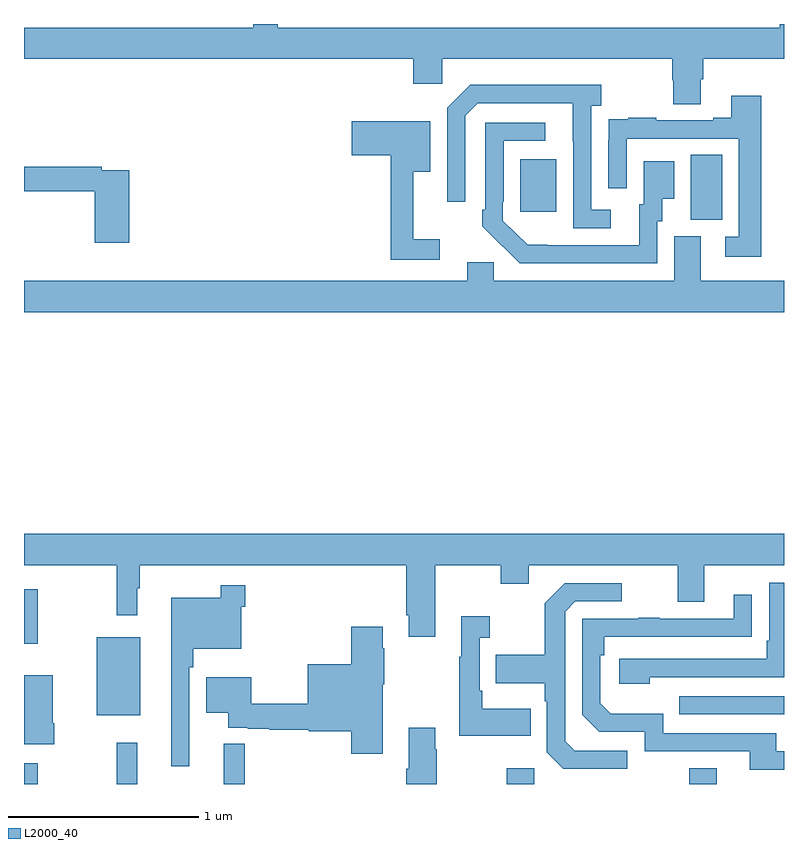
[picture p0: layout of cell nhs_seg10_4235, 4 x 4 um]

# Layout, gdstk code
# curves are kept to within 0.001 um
import gdstk
lib = gdstk.Library(unit=1e-6, precision=1e-09)
def R(c, l, rs):  # rectangles x0, y0, x1, y1
    for r in rs: c.add(gdstk.rectangle(r[:2], r[2:], *l))
def P(c, l, *ps):  # polygons
    for p in ps: c.add(gdstk.Polygon(p, *l))
L2000_40 = (2000, 40)

nhs_seg10_4235 = lib.new_cell('nhs_seg10_4235')
R(nhs_seg10_4235, L2000_40, [(347,1296.5,347.073,1296.608), (347.487,1296.5,347.597,1296.718), (348.05,1296.5,348.163,1296.712), (349.54,1296.5,349.686,1296.583), (350.5,1296.5,350.647,1296.583), (347.384,1296.863,347.611,1297.273), (350.449,1296.867,351,1296.963), (347,1297.238,347.073,1297.525), (350.51,1299.469,350.674,1299.812), (349.613,1299.513,349.801,1299.787)])
P(nhs_seg10_4235, L2000_40, [(350.563,1300.21),(350.576,1300.21),(350.576,1300.316),(351,1300.316),(351,1300.5),(350.977,1300.5),(350.977,1300.48),(348.335,1300.48),(348.335,1300.5),(348.207,1300.5),(348.207,1300.48),(347,1300.48),(347,1300.316),(349.049,1300.316),(349.049,1300.185),(349.2,1300.185),(349.2,1300.316),(350.411,1300.316),(350.411,1300.203),(350.416,1300.203),(350.416,1300.078),(350.563,1300.078)],
  [(350.089,1299.522),(349.986,1299.522),(349.986,1300.07),(350.038,1300.07),(350.038,1300.18),(349.348,1300.18),(349.227,1300.059),(349.227,1299.564),(349.323,1299.564),(349.323,1300.017),(349.389,1300.083),(349.889,1300.083),(349.89,1299.426),(350.089,1299.426)],
  [(350.879,1300.123),(350.723,1300.123),(350.723,1300.006),(350.627,1300.006),(350.627,1299.993),(350.327,1299.993),(350.327,1300.006),(350.179,1300.006),(350.179,1299.999),(350.077,1299.999),(350.077,1299.89),(350.076,1299.89),(350.076,1299.636),(350.172,1299.636),(350.172,1299.897),(350.763,1299.897),(350.763,1299.381),(350.691,1299.381),(350.691,1299.276),(350.879,1299.276)],
  [(349.189,1299.367),(349.049,1299.367),(349.049,1299.722),(349.138,1299.722),(349.138,1299.987),(348.726,1299.987),(348.726,1299.809),(348.931,1299.809),(348.931,1299.258),(349.189,1299.258)],
  [(350.334,1299.462),(350.359,1299.462),(350.359,1299.581),(350.422,1299.581),(350.422,1299.778),(350.261,1299.778),(350.261,1299.552),(350.237,1299.552),(350.237,1299.336),(349.65,1299.337),(349.521,1299.465),(349.521,1299.565),(349.524,1299.565),(349.524,1299.885),(349.744,1299.885),(349.744,1299.981),(349.428,1299.981),(349.428,1299.523),(349.413,1299.523),(349.413,1299.435),(349.61,1299.24),(350.334,1299.24)],
  [(347.555,1299.729),(347.408,1299.729),(347.408,1299.749),(347,1299.749),(347,1299.621),(347.372,1299.621),(347.372,1299.348),(347.555,1299.348)],
  [(351,1299.148),(350.563,1299.148),(350.563,1299.384),(350.423,1299.384),(350.423,1299.148),(349.473,1299.148),(349.473,1299.246),(349.334,1299.246),(349.334,1299.148),(347,1299.148),(347,1298.984),(351,1298.984)],
  [(349.165,1297.652),(349.51,1297.652),(349.51,1297.553),(349.657,1297.553),(349.657,1297.652),(350.441,1297.652),(350.441,1297.458),(350.581,1297.458),(350.581,1297.652),(351,1297.652),(351,1297.816),(347,1297.816),(347,1297.652),(347.487,1297.652),(347.487,1297.389),(347.596,1297.389),(347.596,1297.529),(347.608,1297.529),(347.608,1297.652),(349.013,1297.652),(349.013,1297.387),(349.025,1297.387),(349.025,1297.275),(349.165,1297.275)],
  [(350.294,1297.062),(351,1297.062),(351,1297.56),(350.922,1297.56),(350.922,1297.255),(350.909,1297.255),(350.909,1297.158),(350.133,1297.158),(350.133,1297.028),(350.294,1297.028)],
  [(350.176,1296.675),(349.899,1296.675),(349.848,1296.726),(349.848,1297.407),(349.902,1297.461),(350.146,1297.461),(350.146,1297.557),(349.845,1297.557),(349.74,1297.451),(349.74,1297.179),(349.483,1297.179),(349.483,1297.031),(349.74,1297.031),(349.74,1296.935),(349.752,1296.935),(349.752,1296.666),(349.839,1296.579),(350.176,1296.579)],
  [(347.871,1297.115),(347.891,1297.115),(347.891,1297.211),(348.144,1297.211),(348.144,1297.433),(348.164,1297.433),(348.164,1297.546),(348.036,1297.546),(348.036,1297.48),(347.774,1297.48),(347.774,1296.594),(347.871,1296.594)],
  [(351,1296.672),(350.959,1296.672),(350.959,1296.768),(350.364,1296.768),(350.364,1296.871),(350.087,1296.871),(350.034,1296.924),(350.034,1297.178),(350.054,1297.178),(350.054,1297.275),(350.831,1297.276),(350.831,1297.495),(350.735,1297.495),(350.735,1297.371),(350.345,1297.371),(350.345,1297.376),(350.233,1297.376),(350.233,1297.371),(349.938,1297.371),(349.938,1296.864),(350.028,1296.774),(350.268,1296.774),(350.268,1296.672),(350.819,1296.672),(350.819,1296.576),(351,1296.576)],
  [(349.667,1296.895),(349.411,1296.895),(349.411,1296.991),(349.398,1296.991),(349.398,1297.271),(349.45,1297.271),(349.45,1297.384),(349.301,1297.384),(349.301,1297.171),(349.29,1297.171),(349.29,1296.755),(349.667,1296.755)],
  [(348.889,1297.025),(348.897,1297.025),(348.897,1297.214),(348.889,1297.214),(348.889,1297.327),(348.722,1297.327),(348.722,1297.129),(348.494,1297.129),(348.494,1296.922),(348.196,1296.922),(348.196,1297.063),(347.96,1297.063),(347.96,1296.875),(348.074,1296.875),(348.074,1296.797),(348.178,1296.797),(348.178,1296.792),(348.292,1296.792),(348.292,1296.786),(348.498,1296.786),(348.498,1296.778),(348.722,1296.778),(348.722,1296.66),(348.889,1296.66)],
  [(347.16,1296.82),(347.152,1296.82),(347.152,1297.072),(347,1297.072),(347,1296.708),(347.16,1296.708)],
  [(349.173,1296.683),(349.165,1296.683),(349.165,1296.796),(349.025,1296.796),(349.025,1296.58),(349.013,1296.58),(349.013,1296.5),(349.173,1296.5)])

lib.write_gds('nhs_seg10_4235.gds')
